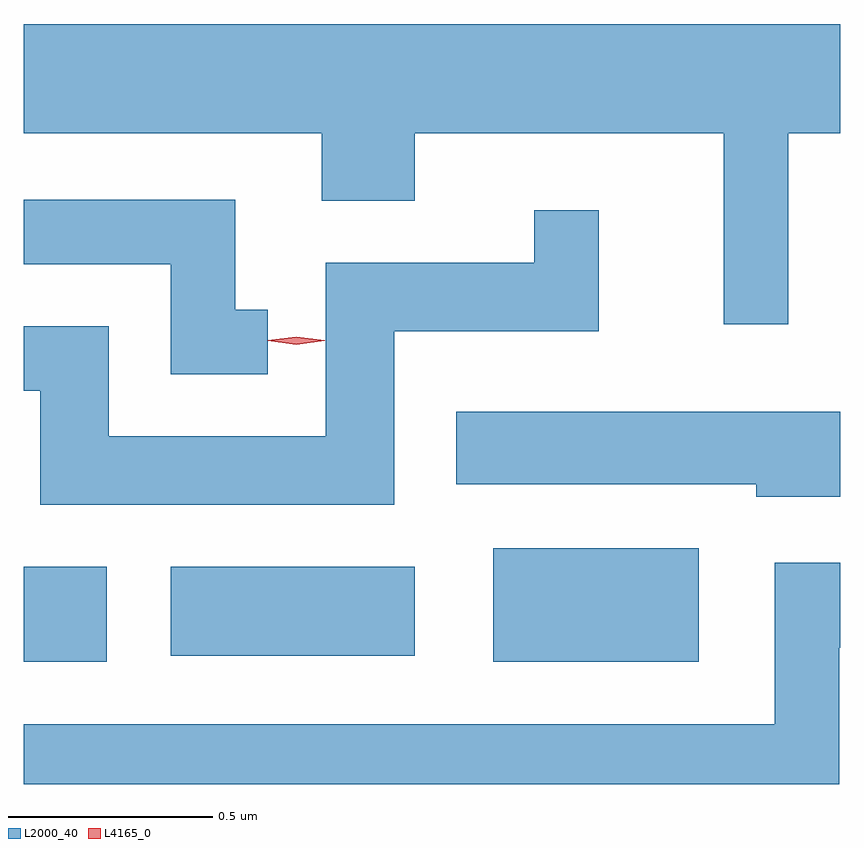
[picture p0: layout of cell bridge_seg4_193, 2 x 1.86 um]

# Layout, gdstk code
import gdstk
lib = gdstk.Library(unit=1e-6, precision=1e-09)
def R(c, l, rs):  # rectangles x0, y0, x1, y1
    for r in rs: c.add(gdstk.rectangle(r[:2], r[2:], *l))
def P(c, l, *ps):  # polygons
    for p in ps: c.add(gdstk.Polygon(p, *l))
L2000_40 = (2000, 40)
L4165_0 = (4165, 0)

bridge_seg4_193 = lib.new_cell('bridge_seg4_193')
R(bridge_seg4_193, L2000_40, [(970.861,1264.581,971.064,1264.814), (972.011,1264.581,972.514,1264.859), (971.221,1264.596,971.819,1264.814)])
P(bridge_seg4_193, L2000_40, [(972.734,1265.876),(972.861,1265.876),(972.861,1266.144),(970.861,1266.144),(970.861,1265.876),(971.591,1265.876),(971.591,1265.711),(971.819,1265.711),(971.819,1265.876),(972.576,1265.876),(972.576,1265.408),(972.734,1265.408)],
  [(971.458,1265.444),(971.379,1265.444),(971.379,1265.714),(970.861,1265.714),(970.861,1265.556),(971.221,1265.556),(971.221,1265.286),(971.458,1265.286)],
  [(971.769,1265.391),(972.269,1265.391),(972.269,1265.688),(972.111,1265.688),(972.111,1265.559),(971.601,1265.559),(971.601,1265.134),(971.069,1265.134),(971.069,1265.404),(970.861,1265.404),(970.861,1265.246),(970.901,1265.246),(970.901,1264.966),(971.769,1264.966)],
  [(972.861,1265.194),(971.921,1265.194),(971.921,1265.016),(972.656,1265.016),(972.656,1264.986),(972.861,1264.986)],
  [(972.859,1264.616),(972.861,1264.616),(972.861,1264.824),(972.701,1264.824),(972.701,1264.429),(970.861,1264.429),(970.861,1264.282),(972.859,1264.282)])
P(bridge_seg4_193, L4165_0, [(971.528,1265.358),(971.459,1265.368),(971.459,1265.368),(971.459,1265.369),(971.528,1265.378),(971.598,1265.369),(971.598,1265.368),(971.598,1265.368)])

lib.write_gds('bridge_seg4_193.gds')
